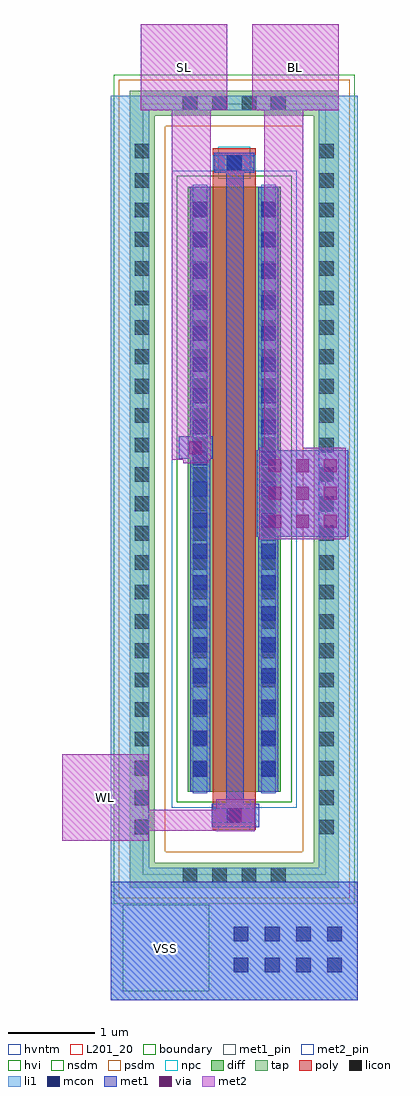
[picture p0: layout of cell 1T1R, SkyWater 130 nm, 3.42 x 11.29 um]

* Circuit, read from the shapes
.subckt 1T1R BL SL VSS WL
XM1 BL WL SL VSS sky130_fd_pr__nfet_g5v0d10v5 w=7 l=0.5
.ends

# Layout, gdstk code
import gdstk
lib = gdstk.Library(unit=1e-6, precision=1e-09)
def R(c, l, rs):  # rectangles x0, y0, x1, y1
    for r in rs: c.add(gdstk.rectangle(r[:2], r[2:], *l))
def A(c, l, x, y, w, h, nx, ny, dx, dy):  # array of equal rectangles
    R(c, l, [(x+i*dx, y+j*dy, x+i*dx+w, y+j*dy+h) for i in range(nx) for j in range(ny)])
diff = (65, 20)
tap = (65, 44)
poly = (66, 20)
licon = (66, 44)
li1 = (67, 20)
mcon = (67, 44)
met1_pin = (68, 16)
met1 = (68, 20)
via = (68, 44)
met2_pin = (69, 16)
met2 = (69, 20)
hvi = (75, 20)
nsdm = (93, 44)
psdm = (94, 20)
npc = (95, 20)
hvntm = (125, 20)
L201_20 = (201, 20)
boundary = (235, 4)

sky130_fd_pr_reram__rera = lib.new_cell('sky130_fd_pr_reram__reram_cell')
R(sky130_fd_pr_reram__rera, met1_pin, [(0,-2,1,-1)])
R(sky130_fd_pr_reram__rera, met1, [(-0.03,-2,1.03,-1)])
A(sky130_fd_pr_reram__rera, via, 0.105, -1.895, 0.15, 0.15, 3, 3, 0.32, 0.32)
R(sky130_fd_pr_reram__rera, met2_pin, [(0,-2,1,-1)])
R(sky130_fd_pr_reram__rera, met2, [(0,-2.03,1,-0.97)])
R(sky130_fd_pr_reram__rera, L201_20, [(0,-2,1,-1)])
sky130_fd_pr_reram__rera.add(gdstk.Label('TE', (0.5,-1.5), layer=69, texttype=5))
sky130_fd_pr_reram__rera.add(gdstk.Label('BE', (0.5,-1.5), layer=68, texttype=5))

sky130_fd_pr__nfet_g5v0d = lib.new_cell('sky130_fd_pr__nfet_g5v0d10v5_9YEQ2B')
R(sky130_fd_pr__nfet_g5v0d, diff, [(-0.54,-3.5,0.54,3.5)])
R(sky130_fd_pr__nfet_g5v0d, tap, [(-1.21,-4.61,1.21,-4.32), (-1.21,-4.32,-0.92,4.32), (0.92,-4.32,1.21,4.32), (-1.21,4.32,1.21,4.61)])
R(sky130_fd_pr__nfet_g5v0d, poly, [(-0.25,-3.94,0.25,3.94)])
A(sky130_fd_pr__nfet_g5v0d, licon, -0.595, -4.55, 0.17, 0.17, 4, 2, 0.34, 8.93)
A(sky130_fd_pr__nfet_g5v0d, licon, -1.15, -3.995, 0.17, 0.17, 1, 24, 0, 0.34)
A(sky130_fd_pr__nfet_g5v0d, licon, 0.98, -3.995, 0.17, 0.17, 1, 24, 0, 0.34)
A(sky130_fd_pr__nfet_g5v0d, licon, -0.48, -3.315, 0.17, 0.17, 1, 20, 0, 0.34)
A(sky130_fd_pr__nfet_g5v0d, licon, 0.31, -3.315, 0.17, 0.17, 1, 20, 0, 0.34)
R(sky130_fd_pr__nfet_g5v0d, licon, [(-0.085,-3.86,0.085,-3.69), (-0.085,3.69,0.085,3.86)])
R(sky130_fd_pr__nfet_g5v0d, li1, [(-1.15,-4.55,1.15,-4.38), (-1.15,-4.38,-0.98,4.38), (0.98,-4.38,1.15,4.38), (-0.25,-3.86,0.25,-3.69), (-0.48,-3.52,-0.31,3.52), (0.31,-3.52,0.48,3.52), (-0.25,3.69,0.25,3.86), (-1.15,4.38,1.15,4.55)])
A(sky130_fd_pr__nfet_g5v0d, mcon, -0.48, -3.325, 0.17, 0.17, 1, 19, 0, 0.36)
A(sky130_fd_pr__nfet_g5v0d, mcon, 0.31, -3.325, 0.17, 0.17, 1, 19, 0, 0.36)
R(sky130_fd_pr__nfet_g5v0d, mcon, [(-0.085,-3.86,0.085,-3.69), (-0.085,3.69,0.085,3.86)])
R(sky130_fd_pr__nfet_g5v0d, met1, [(-0.23,-3.89,0.23,-3.66), (-0.51,-3.5,-0.28,3.5), (0.28,-3.5,0.51,3.5), (-0.23,3.66,0.23,3.89)])
R(sky130_fd_pr__nfet_g5v0d, hvi, [(-1.395,-4.795,1.395,4.795)])
R(sky130_fd_pr__nfet_g5v0d, nsdm, [(-0.665,-3.625,0.665,3.625)])
R(sky130_fd_pr__nfet_g5v0d, psdm, [(-1.335,-4.735,1.335,-4.195), (-1.335,-4.195,-0.795,4.195), (0.795,-4.195,1.335,4.195), (-1.335,4.195,1.335,4.735)])
R(sky130_fd_pr__nfet_g5v0d, npc, [(-0.185,-3.96,0.185,-3.59), (-0.185,3.59,0.185,3.96)])
R(sky130_fd_pr__nfet_g5v0d, hvntm, [(-0.725,-3.685,0.725,3.685)])
R(sky130_fd_pr__nfet_g5v0d, boundary, [(-1.06,-4.46,1.06,4.46)])

c_1t1r = lib.new_cell('1T1R')
R(c_1t1r, li1, [(3.12,-1.64,5.98,-0.28), (3.12,-0.28,3.4,8.82), (5.7,-0.28,5.98,8.82)])
A(c_1t1r, mcon, 4.545, -1.32, 0.17, 0.17, 4, 2, 0.36, 0.36)
R(c_1t1r, met1_pin, [(3.26,-1.54,4.26,-0.54)])
R(c_1t1r, met1, [(3.12,-1.64,5.98,-0.27), (4.29,0.36,4.84,0.63), (4.46,0.63,4.66,8.14), (3.91,4.62,4.3,4.88)])
R(c_1t1r, via, [(4.49,0.42,4.64,0.57), (4.03,4.675,4.18,4.825)])
R(c_1t1r, met2_pin, [(2.56,0.2,3.56,1.2), (3.47,8.65,4.47,9.65), (4.76,8.65,5.76,9.65)])
R(c_1t1r, met2, [(2.56,0.2,3.56,0.32), (4.34,0.31,4.79,0.32), (2.56,0.32,4.79,0.56), (2.56,0.56,3.56,1.2), (4.34,0.56,4.79,0.68), (4.9,4.43,5.35,8.65), (3.96,4.57,4.25,4.61), (3.83,4.61,4.28,8.65), (3.47,8.65,4.47,9.65), (4.76,8.65,5.76,9.65)])
c_1t1r.add(gdstk.Reference(sky130_fd_pr_reram__rera, (4.84,5.72)))
c_1t1r.add(gdstk.Reference(sky130_fd_pr__nfet_g5v0d, (4.55,4.27)))
c_1t1r.add(gdstk.Label('SL', (3.97,9.15), layer=69, texttype=5))
c_1t1r.add(gdstk.Label('VSS', (3.76,-1.04), layer=68, texttype=5))
c_1t1r.add(gdstk.Label('WL', (3.06,0.7), layer=69, texttype=5))
c_1t1r.add(gdstk.Label('BL', (5.26,9.15), layer=69, texttype=5))

lib.write_gds('1T1R.gds')
